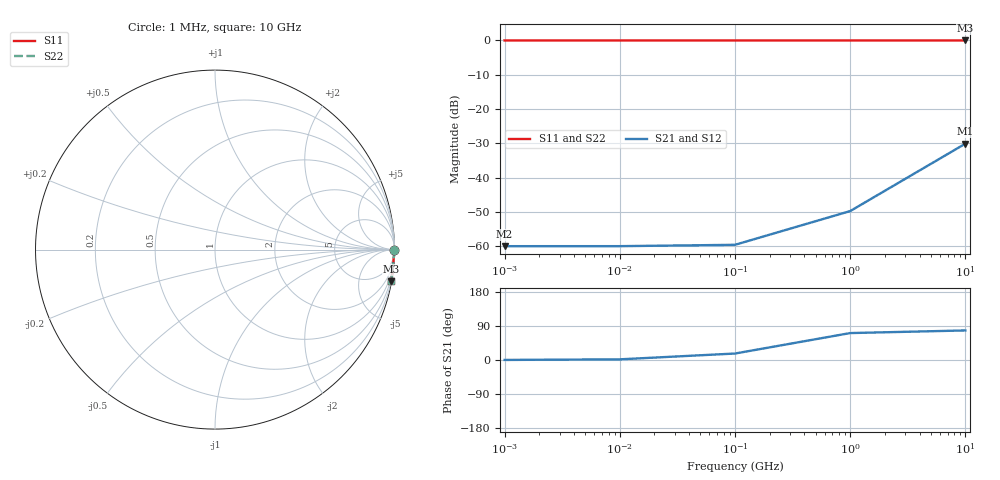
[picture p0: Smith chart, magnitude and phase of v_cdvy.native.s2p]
! Sonnet Data File
! From: em Version : 18.53-Lite
! From Project: v_cdvy
! Data is NOT De-embedded
! Data File Written: 10/12/2026 12:07:32
!< HDATE 10/12/2026 12:07:32
!< MDATE 10/12/2026 12:07:32
# GHZ S RI R 50.00000
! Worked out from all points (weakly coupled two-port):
!   5 points, 1 MHz to 10 GHz, reference 50 ohm
!   highest |S21| = -30.11 dB at 10 GHz (marker M1); lowest = -60.0 dB at 1 MHz (marker M2)
!   lowest |S11| = 0.0 dB at 10 GHz (marker M3)
!   |S11| at or under -10 dB: nowhere
!   |S22| runs from 0.0 to 0.0 dB; largest |S21 - S12| = 2e-10
0.001  0.999 -1.76e-05  0.000999 3.07e-06  0.000999 3.07e-06  0.999 -1.76e-05
0.01  0.999 -0.000176  0.000999 3.07e-05  0.000999 3.07e-05  0.999 -0.000176
0.1  0.999 -0.00176  0.001 0.000307  0.001 0.000307  0.999 -0.00176
1  0.9988 -0.0176  0.00105 0.00307  0.00105 0.00307  0.9988 -0.0176
10  0.9829 -0.1757  0.00649 0.0306  0.00649 0.0306  0.9829 -0.1757
